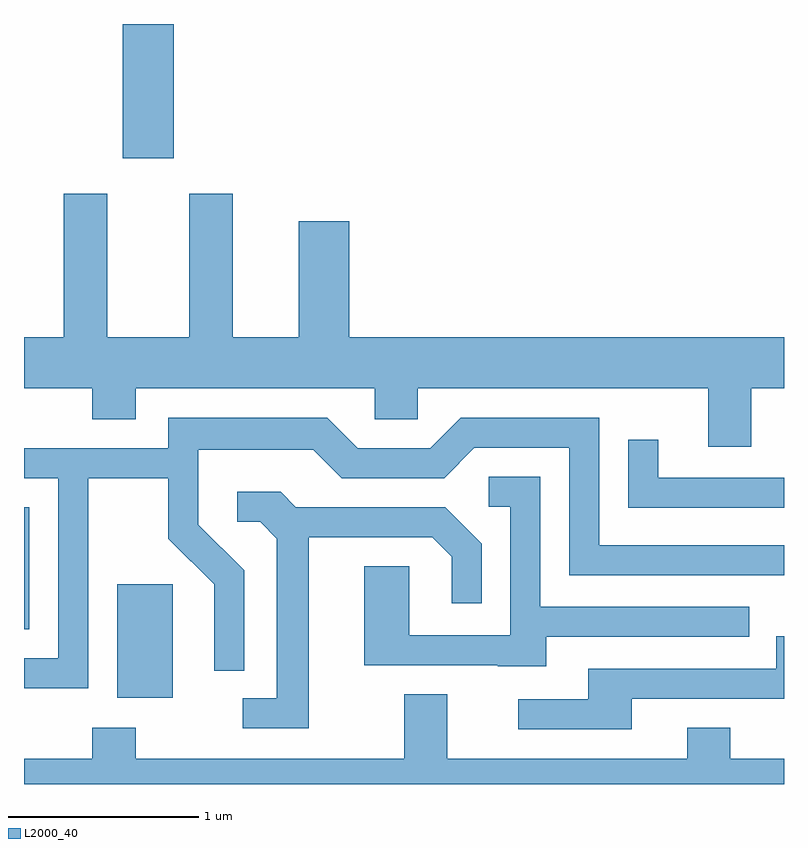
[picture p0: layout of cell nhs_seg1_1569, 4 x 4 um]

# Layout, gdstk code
import gdstk
lib = gdstk.Library(unit=1e-6, precision=1e-09)
def R(c, l, rs):  # rectangles x0, y0, x1, y1
    for r in rs: c.add(gdstk.rectangle(r[:2], r[2:], *l))
def P(c, l, *ps):  # polygons
    for p in ps: c.add(gdstk.Polygon(p, *l))
L2000_40 = (2000, 40)

nhs_seg1_1569 = lib.new_cell('nhs_seg1_1569')
R(nhs_seg1_1569, L2000_40, [(234.101,900.166,234.394,900.764), (233.611,900.526,233.639,901.169), (234.131,903.006,234.399,903.712)])
P(nhs_seg1_1569, L2000_40, [(235.324,902.674),(235.056,902.674),(235.056,902.064),(234.709,902.064),(234.709,902.819),(234.481,902.819),(234.481,902.064),(234.049,902.064),(234.049,902.819),(233.821,902.819),(233.821,902.064),(233.611,902.064),(233.611,901.796),(233.971,901.796),(233.971,901.631),(234.199,901.631),(234.199,901.796),(235.456,901.796),(235.456,901.631),(235.684,901.631),(235.684,901.796),(237.211,901.796),(237.211,901.486),(237.439,901.486),(237.439,901.796),(237.611,901.796),(237.611,902.064),(235.324,902.064)],
  [(233.949,901.321),(234.371,901.321),(234.371,901.004),(234.611,900.764),(234.611,900.308),(234.769,900.308),(234.769,900.837),(234.529,901.077),(234.529,901.471),(235.134,901.471),(235.284,901.321),(235.822,901.321),(235.982,901.481),(236.481,901.481),(236.481,900.811),(237.611,900.811),(237.611,900.969),(236.639,900.969),(236.639,901.639),(235.909,901.639),(235.749,901.479),(235.367,901.479),(235.207,901.639),(234.371,901.639),(234.371,901.479),(233.611,901.479),(233.611,901.321),(233.791,901.321),(233.791,900.374),(233.611,900.374),(233.611,900.216),(233.949,900.216)],
  [(237.611,901.324),(236.949,901.324),(236.949,901.523),(236.791,901.523),(236.791,901.166),(237.611,901.166)],
  [(236.359,900.486),(237.428,900.486),(237.428,900.644),(236.329,900.644),(236.329,901.329),(236.058,901.329),(236.058,901.171),(236.171,901.171),(236.171,900.494),(235.639,900.494),(235.639,900.859),(235.401,900.859),(235.401,900.336),(236.105,900.336),(236.105,900.331),(236.359,900.331)],
  [(235.109,901.011),(235.759,901.011),(235.861,900.909),(235.861,900.663),(236.019,900.663),(236.019,900.977),(235.827,901.169),(235.042,901.169),(234.962,901.249),(234.733,901.249),(234.733,901.091),(234.854,901.091),(234.941,901.004),(234.941,900.164),(234.763,900.164),(234.763,900.006),(235.109,900.006)],
  [(236.809,900.161),(237.611,900.161),(237.611,900.489),(237.571,900.489),(237.571,900.319),(236.581,900.319),(236.581,900.159),(236.213,900.159),(236.213,900.001),(236.809,900.001)],
  [(237.611,899.844),(237.329,899.844),(237.329,900.009),(237.101,900.009),(237.101,899.844),(235.839,899.844),(235.839,900.184),(235.611,900.184),(235.611,899.844),(234.199,899.844),(234.199,900.009),(233.971,900.009),(233.971,899.844),(233.611,899.844),(233.611,899.712),(237.611,899.712)])

lib.write_gds('nhs_seg1_1569.gds')
